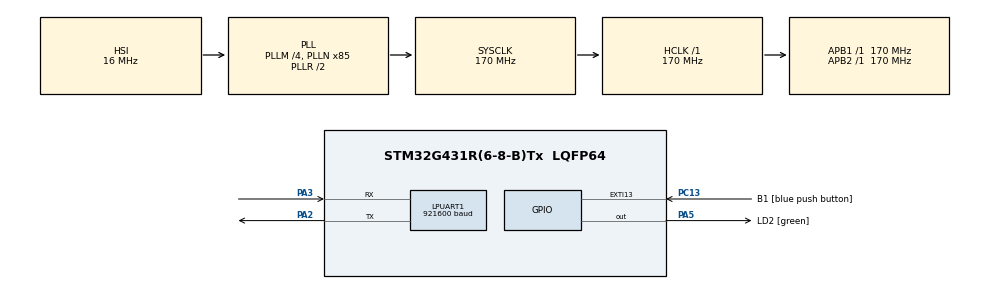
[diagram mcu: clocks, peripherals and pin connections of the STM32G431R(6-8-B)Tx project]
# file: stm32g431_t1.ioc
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ADC1.Channel-0\#ChannelRegularConversion=ADC_CHANNEL_TEMPSENSOR_ADC1
ADC1.NbrOfConversionFlag=1
ADC1.OffsetNumber-0\#ChannelRegularConversion=ADC_OFFSET_NONE
ADC1.Rank-0\#ChannelRegularConversion=1
ADC1.SamplingTime-0\#ChannelRegularConversion=ADC_SAMPLETIME_2CYCLES_5
ADC1.master=1
Dma.ADC1.0.Direction=DMA_PERIPH_TO_MEMORY
Dma.ADC1.0.EventEnable=DISABLE
Dma.ADC1.0.Instance=DMA1_Channel1
Dma.ADC1.0.MemDataAlignment=DMA_MDATAALIGN_HALFWORD
Dma.ADC1.0.MemInc=DMA_MINC_ENABLE
Dma.ADC1.0.Mode=DMA_CIRCULAR
Dma.ADC1.0.PeriphDataAlignment=DMA_PDATAALIGN_HALFWORD
Dma.ADC1.0.PeriphInc=DMA_PINC_DISABLE
Dma.ADC1.0.Polarity=HAL_DMAMUX_REQ_GEN_RISING
Dma.ADC1.0.Priority=DMA_PRIORITY_LOW
Dma.ADC1.0.RequestNumber=1
Dma.ADC1.0.SignalID=NONE
Dma.ADC1.0.SyncEnable=DISABLE
Dma.ADC1.0.SyncPolarity=HAL_DMAMUX_SYNC_NO_EVENT
Dma.ADC1.0.SyncRequestNumber=1
Dma.ADC1.0.SyncSignalID=NONE
Dma.Request0=ADC1
LPUART1.BaudRate=921600
Mcu.Family=STM32G4
Mcu.Name=STM32G431R(6-8-B)Tx
Mcu.Package=LQFP64
Mcu.UserConstants=ADC_CHAN_NO,3
NVIC.DMA1_Channel1_IRQn=true\:0\:0\:false\:false\:true\:false\:true\:true
NVIC.PriorityGroup=NVIC_PRIORITYGROUP_4
NVIC.TIM1_TRG_COM_TIM17_IRQn=true\:15\:0\:false\:false\:true\:false\:true\:true
NVIC.TimeBase=TIM1_TRG_COM_TIM17_IRQn
NVIC.TimeBaseIP=TIM17
PA13.GPIO_Label=T_SWDIO
PA13.Mode=Trace_Asynchronous_SW
PA13.Signal=SYS_JTMS-SWDIO
PA14.GPIO_Label=T_SWCLK
PA14.Mode=Trace_Asynchronous_SW
PA14.Signal=SYS_JTCK-SWCLK
PA2.Mode=Asynchronous
PA2.Signal=LPUART1_TX
PA3.Mode=Asynchronous
PA3.Signal=LPUART1_RX
PA5.GPIO_Label=LD2 [green]
PA5.Signal=GPIO_Output
PB3.GPIO_Label=T_SWO
PB3.Mode=Trace_Asynchronous_SW
PB3.Signal=SYS_JTDO-SWO
PC13.GPIO_Label=B1 [blue push button]
PC13.Signal=GPXTI13
PC14-OSC32_IN.Mode=LSE-External-Oscillator
PC14-OSC32_IN.Signal=RCC_OSC32_IN
PC15-OSC32_OUT.Mode=LSE-External-Oscillator
PC15-OSC32_OUT.Signal=RCC_OSC32_OUT
PC4.GPIO_Label=USART1_TX [STLINKV3E_VCP_RX]
PC4.Signal=USART1_TX
PC5.GPIO_Label=USART1_RX [STLINKV3E_VCP_TX]
PC5.Signal=USART1_RX
PF0-OSC_IN.Mode=HSE-External-Oscillator
PF0-OSC_IN.Signal=RCC_OSC_IN
PF1-OSC_OUT.Mode=HSE-External-Oscillator
PF1-OSC_OUT.Signal=RCC_OSC_OUT
ProjectManager.HeapSize=0x400
ProjectManager.StackSize=0x2000
ProjectManager.TargetToolchain=MDK-ARM V5
RCC.ADC12Freq_Value=170000000
RCC.AHBFreq_Value=170000000
RCC.APB1Freq_Value=170000000
RCC.APB1TimFreq_Value=170000000
RCC.APB2Freq_Value=170000000
RCC.APB2TimFreq_Value=170000000
RCC.CortexFreq_Value=170000000
RCC.EXTERNAL_CLOCK_VALUE=12288000
RCC.HCLKFreq_Value=170000000
RCC.HSE_VALUE=24000000
RCC.HSI48_VALUE=48000000
RCC.HSI_VALUE=16000000
RCC.PLLM=RCC_PLLM_DIV4
RCC.PLLN=85
RCC.RTCClockSelection=RCC_RTCCLKSOURCE_LSE
RCC.SYSCLKFreq_VALUE=170000000
RCC.SYSCLKSource=RCC_SYSCLKSOURCE_PLLCLK
RCC.USBFreq_Value=170000000
RCC.VCOOutputFreq_Value=340000000
VP_ADC1_TempSens_Input.Mode=IN-TempSens
VP_ADC1_Vbat_Input.Mode=IN-Vbat
VP_ADC1_Vref_Input.Mode=IN-Vrefint
VP_SYS_VS_DBSignals.Mode=DisableDeadBatterySignals
VP_SYS_VS_tim17.Mode=TIM17
board=NUCLEO-G431RB

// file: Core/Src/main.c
/* USER CODE BEGIN Header */
/**
  ******************************************************************************
  * @file           : main.c
  * @brief          : Main program body
  ******************************************************************************
  * @attention
  *
  * <h2><center>&copy; Copyright (c) 2019 STMicroelectronics.
  * All rights reserved.</center></h2>
  *
  * This software component is licensed by ST under BSD 3-Clause license,
  * the "License"; You may not use this file except in compliance with the
  * License. You may obtain a copy of the License at:
  *                        opensource.org/licenses/BSD-3-Clause
  *
  ******************************************************************************
  */
/* USER CODE END Header */
#include "main.h"
#include "adc.h"
#include "dma.h"
#include "usart.h"
#include "gpio.h"

/* USER CODE BEGIN Includes */
#include <stdio.h>
#include <stdint.h>
#include <stdlib.h>

#include "custom_def.h"
#include "core_portme.h"
/* USER CODE END Includes */

void SystemClock_Config(void);
/* USER CODE BEGIN PFP */
volatile uint16_t g_ADCBuf[3];

extern uint32_t __Vectors;
extern uint32_t __Vectors_End;
extern uint32_t __Vectors_Size;

extern void portable_init(core_portable *p, int *argc, char *argv[]);
extern void portable_fini(core_portable *p);

int stdout_putchar (int ch) {
	HAL_UART_Transmit(&hlpuart1, (uint8_t*)&ch, 1, 0xFFFF);
	return ch;
}

int stderr_putchar (int ch) {
	HAL_UART_Transmit(&hlpuart1, (uint8_t*)&ch, 1, 0xFFFF);
	return ch;
}

void ttywrch (int ch) {
	HAL_UART_Transmit(&hlpuart1, (uint8_t*)&ch, 1, 0xFFFF);
}

void user_loop(void) {
		printf("CC: %s\n", COMPILER_NAME);
		printf("%u Hz, %08X, CM:%d, FPU_USED:%d\n",
				SystemCoreClock, SCB->CPUID,
				__CORTEX_M, __FPU_USED);
		printf("vector: %08X %08X %08X %08X %08X\n", (uint32_t)(&__Vectors), (uint32_t)(&__Vectors_End), (uint32_t)(&__Vectors_Size), (uint32_t)(portable_init), (uint32_t)(portable_fini));
		HAL_Delay(60 * configTICK_RATE_HZ);
}

int original_main(void)
/* USER CODE END PFP */

//int main(void)
{

  /* MCU Configuration--------------------------------------------------------*/

  /* Reset of all peripherals, Initializes the Flash interface and the Systick. */
  HAL_Init();

  /* Configure the system clock */
  SystemClock_Config();

  /* Initialize all configured peripherals */
  MX_GPIO_Init();
  MX_DMA_Init();
  MX_ADC1_Init();
  MX_LPUART1_UART_Init();
  /* USER CODE BEGIN 2 */
	HAL_ADC_Start_DMA(&hadc1, (uint32_t*)g_ADCBuf, sizeof(g_ADCBuf)/sizeof(g_ADCBuf[0]));

	printf("CC: %s\n", COMPILER_NAME);
	printf("%u Hz, %08X, CM:%d, FPU_USED:%d\n",
		SystemCoreClock, SCB->CPUID,
		__CORTEX_M, __FPU_USED);
		printf("vector: %08X %08X %08X %08X %08X\n", (uint32_t)(&__Vectors), (uint32_t)(&__Vectors_End), (uint32_t)(&__Vectors_Size), (uint32_t)(portable_init), (uint32_t)(portable_fini));
	printf("%u %u %u\n", g_ADCBuf[0], g_ADCBuf[1], g_ADCBuf[2]);

  /* USER CODE END 2 */

  /* Infinite loop */
  /* USER CODE BEGIN WHILE */
  while (0) {
		user_loop();
    /* USER CODE END WHILE */

  }
}

void SystemClock_Config(void)
{
  RCC_OscInitTypeDef RCC_OscInitStruct = {0};
  RCC_ClkInitTypeDef RCC_ClkInitStruct = {0};

  /** Configure the main internal regulator output voltage
  */
  HAL_PWREx_ControlVoltageScaling(PWR_REGULATOR_VOLTAGE_SCALE1_BOOST);

  /** Initializes the RCC Oscillators according to the specified parameters
  * in the RCC_OscInitTypeDef structure.
  */
  RCC_OscInitStruct.OscillatorType = RCC_OSCILLATORTYPE_HSI;
  RCC_OscInitStruct.HSIState = RCC_HSI_ON;
  RCC_OscInitStruct.HSICalibrationValue = RCC_HSICALIBRATION_DEFAULT;
  RCC_OscInitStruct.PLL.PLLState = RCC_PLL_ON;
  RCC_OscInitStruct.PLL.PLLSource = RCC_PLLSOURCE_HSI;
  RCC_OscInitStruct.PLL.PLLM = RCC_PLLM_DIV4;
  RCC_OscInitStruct.PLL.PLLN = 85;
  RCC_OscInitStruct.PLL.PLLP = RCC_PLLP_DIV2;
  RCC_OscInitStruct.PLL.PLLQ = RCC_PLLQ_DIV2;
  RCC_OscInitStruct.PLL.PLLR = RCC_PLLR_DIV2;
  if (HAL_RCC_OscConfig(&RCC_OscInitStruct) != HAL_OK)
  {
    Error_Handler();
  }

  /** Initializes the CPU, AHB and APB buses clocks
  */
  RCC_ClkInitStruct.ClockType = RCC_CLOCKTYPE_HCLK|RCC_CLOCKTYPE_SYSCLK
                              |RCC_CLOCKTYPE_PCLK1|RCC_CLOCKTYPE_PCLK2;
  RCC_ClkInitStruct.SYSCLKSource = RCC_SYSCLKSOURCE_PLLCLK;
  RCC_ClkInitStruct.AHBCLKDivider = RCC_SYSCLK_DIV1;
  RCC_ClkInitStruct.APB1CLKDivider = RCC_HCLK_DIV1;
  RCC_ClkInitStruct.APB2CLKDivider = RCC_HCLK_DIV1;

  if (HAL_RCC_ClockConfig(&RCC_ClkInitStruct, FLASH_LATENCY_4) != HAL_OK)
  {
    Error_Handler();
  }
}

void HAL_TIM_PeriodElapsedCallback(TIM_HandleTypeDef *htim)
{
  if (htim->Instance == TIM17)
  {
    HAL_IncTick();
  }
}

void Error_Handler(void)
{
}
